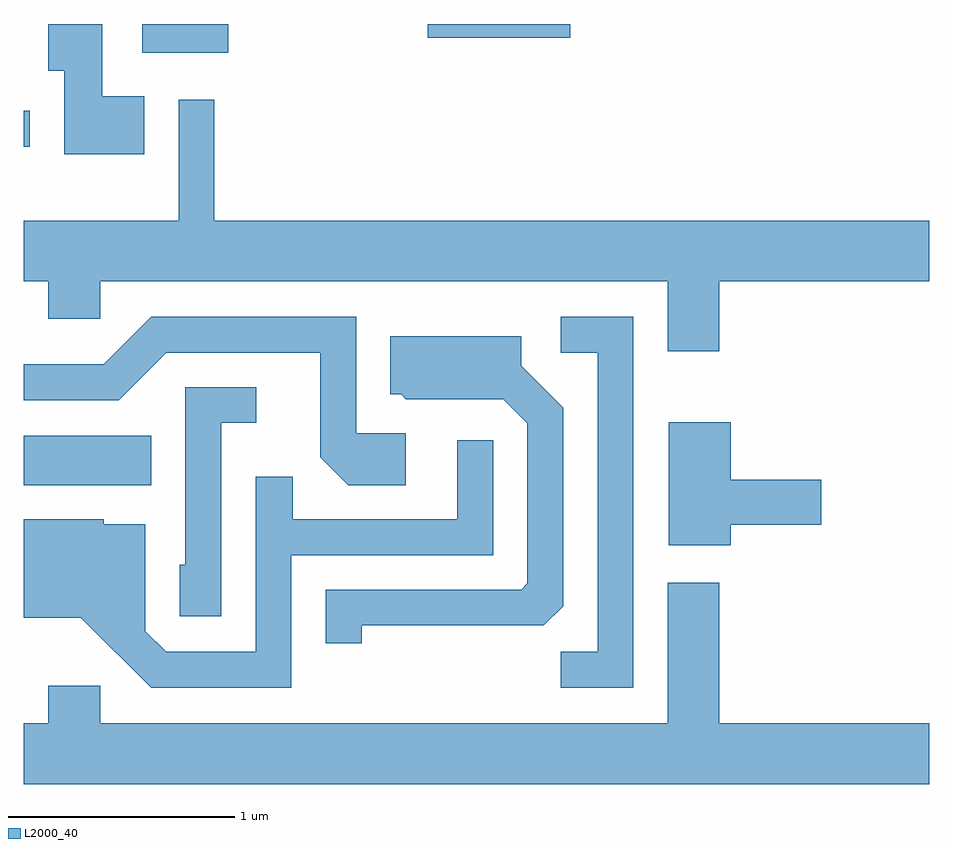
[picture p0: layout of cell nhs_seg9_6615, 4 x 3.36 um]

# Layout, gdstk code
import gdstk
lib = gdstk.Library(unit=1e-6, precision=1e-09)
def R(c, l, rs):  # rectangles x0, y0, x1, y1
    for r in rs: c.add(gdstk.rectangle(r[:2], r[2:], *l))
def P(c, l, *ps):  # polygons
    for p in ps: c.add(gdstk.Polygon(p, *l))
L2000_40 = (2000, 40)

nhs_seg9_6615 = lib.new_cell('nhs_seg9_6615')
R(nhs_seg9_6615, L2000_40, [(379.611,2066.396,380.174,2066.614), (379.611,2067.891,379.638,2068.049), (380.136,2068.306,380.514,2068.432), (381.396,2068.371,382.024,2068.432)])
P(nhs_seg9_6615, L2000_40, [(380.144,2068.114),(379.959,2068.114),(379.959,2068.432),(379.721,2068.432),(379.721,2068.226),(379.791,2068.226),(379.791,2067.856),(380.144,2067.856)],
  [(382.684,2067.296),(383.611,2067.296),(383.611,2067.564),(380.454,2067.564),(380.454,2068.097),(380.296,2068.097),(380.296,2067.564),(379.611,2067.564),(379.611,2067.296),(379.721,2067.296),(379.721,2067.131),(379.949,2067.131),(379.949,2067.296),(382.456,2067.296),(382.456,2066.986),(382.684,2066.986)],
  [(382.304,2067.139),(381.983,2067.139),(381.983,2066.981),(382.146,2066.981),(382.146,2065.659),(381.983,2065.659),(381.983,2065.501),(382.304,2065.501)],
  [(381.299,2066.624),(381.079,2066.624),(381.079,2067.139),(380.174,2067.139),(379.964,2066.929),(379.611,2066.929),(379.611,2066.771),(380.032,2066.771),(380.242,2066.981),(380.921,2066.981),(380.921,2066.519),(381.044,2066.396),(381.299,2066.396)],
  [(381.104,2065.776),(381.909,2065.776),(381.994,2065.862),(381.994,2066.737),(381.809,2066.922),(381.809,2067.054),(381.231,2067.054),(381.231,2066.796),(381.279,2066.796),(381.299,2066.776),(381.729,2066.776),(381.836,2066.669),(381.836,2065.962),(381.809,2065.934),(380.946,2065.934),(380.946,2065.698),(381.104,2065.698)],
  [(380.484,2066.671),(380.638,2066.671),(380.638,2066.829),(380.326,2066.829),(380.326,2066.044),(380.301,2066.044),(380.301,2065.816),(380.484,2065.816)],
  [(382.734,2066.221),(383.134,2066.221),(383.134,2066.419),(382.734,2066.419),(382.734,2066.674),(382.461,2066.674),(382.461,2066.131),(382.734,2066.131)],
  [(380.794,2066.086),(381.684,2066.086),(381.684,2066.593),(381.526,2066.593),(381.526,2066.244),(380.799,2066.244),(380.799,2066.433),(380.636,2066.433),(380.636,2065.659),(380.242,2065.659),(380.149,2065.751),(380.149,2066.224),(379.964,2066.224),(379.964,2066.244),(379.611,2066.244),(379.611,2065.811),(379.864,2065.811),(380.174,2065.501),(380.794,2065.501)],
  [(383.611,2065.344),(382.684,2065.344),(382.684,2065.964),(382.456,2065.964),(382.456,2065.344),(379.949,2065.344),(379.949,2065.509),(379.721,2065.509),(379.721,2065.344),(379.611,2065.344),(379.611,2065.076),(383.611,2065.076)])

lib.write_gds('nhs_seg9_6615.gds')
